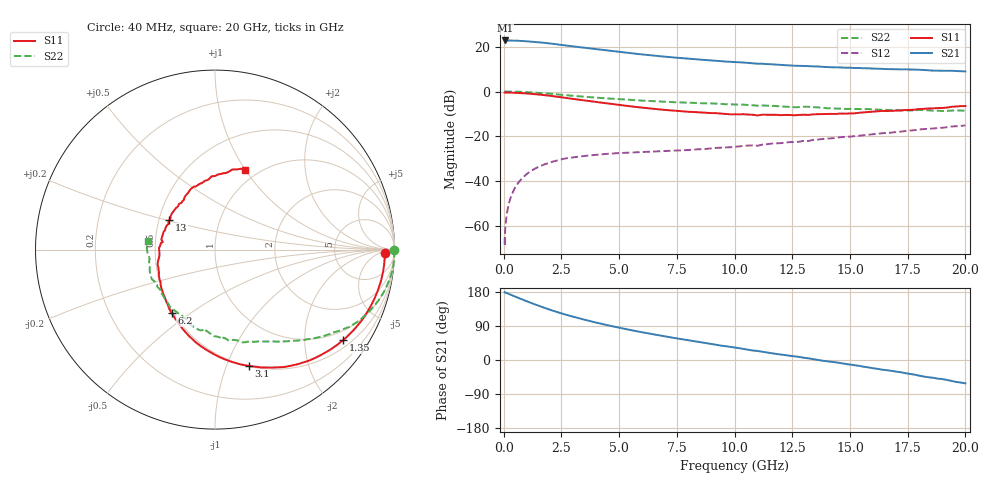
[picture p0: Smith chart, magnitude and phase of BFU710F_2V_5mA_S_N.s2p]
! Filename:  P:\Prog\Test\Noise\ATS_data\Testdata_Net\BFU710\BFU710_2W_A1_2V5mA_D.s2p
! Date/Time: Fri 29/Apr/2011 13:26:56
! BFU710_2W_A1_2V5mA
! bias mode 1: Vout= 2.0000 V, Iout= 5.0350 mA, Vin= 0.8210 V, Iin= 0.0174 mA
! Date/time Wed Mar 16 10:52:00 2011
! Device data file deembeded for feedlines and parallel
! Original file: \BFU710\BFU710_2W_A1_2V5mA_R.s2p
! Feed-files: PR003V01_101208_Feed1.s2p, PR003V01_101208_Feed2.s2p
! Parallel-file: PR003V01_101208_Par.s2p
# MHz S MA R 50
!  Freq-MHz  S11-mag  S11-arg  S21-mag  S21-arg  S12-mag  S12-arg  S22-mag  S22-arg
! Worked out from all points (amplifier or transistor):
!   167 points, 40 MHz to 20 GHz, reference 50 ohm
!   highest |S21| = 22.7 dB at 50 MHz (marker M1)
!   |S21| within 3 dB of that: start of sweep to 3.297 GHz
!   unconditionally stable (mu >= 1): 6.598 GHz to 16.92 GHz
!   at 550 MHz: K = 0.03, MSG = 32.2 dB, |S12| = -41.9 dB
!   at 4.2 GHz: K = 0.63, MSG = 23.3 dB, |S12| = -28.0 dB
!   at 20 GHz: K = 0.80, MSG = 12.0 dB, |S12| = -15.1 dB
!   lowest NFmin = 0.73 dB at 400 MHz
!   S11 on the Smith chart (normalised r, x): 40 MHz: 33, -11; 1.35 GHz: 0.70, -2.99; 3.1 GHz: 0.50, -1.20; 6.2 GHz: 0.49, -0.42; 13 GHz: 0.57, +0.21; 20 GHz: 0.87, +1.00
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40  0.9467 -1.0  13.63 178.7  0.0005537 85.3  0.9985 -0.3
50  0.9434 -1.4  13.68 178.1  0.0003617 71.8  0.9984 -0.5
70  0.9474 -1.8  13.54 178.2  0.0009614 91.5  0.9997 -0.8
120  0.9465 -3.1  13.61 176.9  0.001642 89.6  0.9998 -1.5
320  0.9434 -8.5  13.55 171.9  0.004627 87.5  0.9984 -4.5
800  0.9194 -21.4  13.34 159.8  0.01175 79.1  0.9813 -11.3
1350  0.8735 -35.4  12.66 146.9  0.01911 69.7  0.9459 -18.6
1900  0.8154 -48.7  11.91 134.8  0.02525 61.8  0.9027 -25.1
2250  0.7744 -56.6  11.33 127.7  0.02869 57.5  0.8718 -29.0
3100  0.6751 -73.8  9.963 112.7  0.03468 47.7  0.7953 -36.2
3400  0.6435 -79.4  9.546 107.9  0.03626 45.4  0.7731 -38.6
4100  0.5763 -91.8  8.627 97.4  0.0395 40.8  0.7241 -43.4
4800  0.5188 -103.4  7.825 87.8  0.04205 37.0  0.6842 -47.9
6200  0.4279 -124.5  6.522 70.9  0.04548 32.3  0.6193 -55.9
6800  0.3975 -133.0  6.08 64.4  0.04678 31.2  0.5979 -59.0
8200  0.3506 -151.9  5.279 50.1  0.05088 30.9  0.559 -67.0
10200  0.3105 -178.3  4.467 31.2  0.06001 30.0  0.511 -79.8
13000  0.3042 147.1  3.722 6.0  0.0797 26.4  0.4569 -99.9
13400  0.3094 143.0  3.624 2.3  0.08381 25.5  0.4498 -104.5
16800  0.3713 105.2  3.142 -28.6  0.1217 11.9  0.3852 -138.7
18200  0.4108 89.6  3.012 -43.6  0.1454 3.0  0.386 -159.0
20000  0.4747 69.4  2.798 -61.5  0.1759 -9.4  0.3743 172.8
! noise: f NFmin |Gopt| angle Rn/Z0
400  0.7318  0.6141  3.48  0.329
850  0.7462  0.5991  8.05  0.3283
1500  0.7686  0.5785  14.51  0.325
2150  0.7928  0.5586  20.83  0.319
3000  0.8272  0.5331  28.96  0.3079
4300  0.886  0.4942  41.34  0.2848
6200  0.9852  0.4386  59.99  0.2425
8600  1.133  0.3764  85.31  0.1847
1.3e+04  1.47  0.2748  137.1  0.1136
1.8e+04  1.954  0.251  256.1  0.1872
